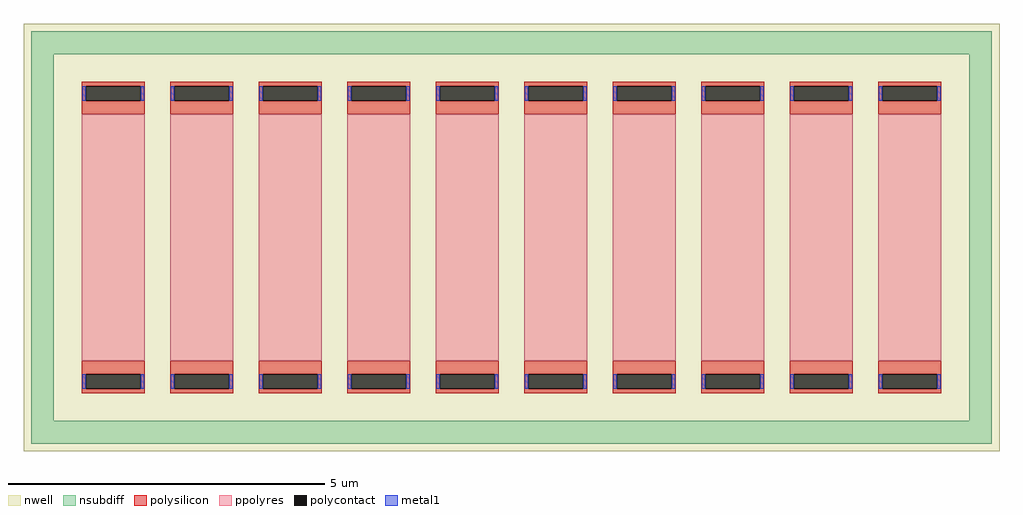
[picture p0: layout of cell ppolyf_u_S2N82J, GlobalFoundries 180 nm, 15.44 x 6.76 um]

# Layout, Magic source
magic
tech gf180mcuC
magscale 1 10
<< nwell >>
rect -1544 -676 1544 676
<< nsubdiff >>
rect -1520 580 1520 652
rect -1520 -580 -1448 580
rect 1448 -580 1520 580
rect -1520 -652 1520 -580
<< polysilicon >>
rect -1360 479 -1160 492
rect -1360 433 -1347 479
rect -1173 433 -1160 479
rect -1360 390 -1160 433
rect -1360 -433 -1160 -390
rect -1360 -479 -1347 -433
rect -1173 -479 -1160 -433
rect -1360 -492 -1160 -479
rect -1080 479 -880 492
rect -1080 433 -1067 479
rect -893 433 -880 479
rect -1080 390 -880 433
rect -1080 -433 -880 -390
rect -1080 -479 -1067 -433
rect -893 -479 -880 -433
rect -1080 -492 -880 -479
rect -800 479 -600 492
rect -800 433 -787 479
rect -613 433 -600 479
rect -800 390 -600 433
rect -800 -433 -600 -390
rect -800 -479 -787 -433
rect -613 -479 -600 -433
rect -800 -492 -600 -479
rect -520 479 -320 492
rect -520 433 -507 479
rect -333 433 -320 479
rect -520 390 -320 433
rect -520 -433 -320 -390
rect -520 -479 -507 -433
rect -333 -479 -320 -433
rect -520 -492 -320 -479
rect -240 479 -40 492
rect -240 433 -227 479
rect -53 433 -40 479
rect -240 390 -40 433
rect -240 -433 -40 -390
rect -240 -479 -227 -433
rect -53 -479 -40 -433
rect -240 -492 -40 -479
rect 40 479 240 492
rect 40 433 53 479
rect 227 433 240 479
rect 40 390 240 433
rect 40 -433 240 -390
rect 40 -479 53 -433
rect 227 -479 240 -433
rect 40 -492 240 -479
rect 320 479 520 492
rect 320 433 333 479
rect 507 433 520 479
rect 320 390 520 433
rect 320 -433 520 -390
rect 320 -479 333 -433
rect 507 -479 520 -433
rect 320 -492 520 -479
rect 600 479 800 492
rect 600 433 613 479
rect 787 433 800 479
rect 600 390 800 433
rect 600 -433 800 -390
rect 600 -479 613 -433
rect 787 -479 800 -433
rect 600 -492 800 -479
rect 880 479 1080 492
rect 880 433 893 479
rect 1067 433 1080 479
rect 880 390 1080 433
rect 880 -433 1080 -390
rect 880 -479 893 -433
rect 1067 -479 1080 -433
rect 880 -492 1080 -479
rect 1160 479 1360 492
rect 1160 433 1173 479
rect 1347 433 1360 479
rect 1160 390 1360 433
rect 1160 -433 1360 -390
rect 1160 -479 1173 -433
rect 1347 -479 1360 -433
rect 1160 -492 1360 -479
<< polycontact >>
rect -1347 433 -1173 479
rect -1347 -479 -1173 -433
rect -1067 433 -893 479
rect -1067 -479 -893 -433
rect -787 433 -613 479
rect -787 -479 -613 -433
rect -507 433 -333 479
rect -507 -479 -333 -433
rect -227 433 -53 479
rect -227 -479 -53 -433
rect 53 433 227 479
rect 53 -479 227 -433
rect 333 433 507 479
rect 333 -479 507 -433
rect 613 433 787 479
rect 613 -479 787 -433
rect 893 433 1067 479
rect 893 -479 1067 -433
rect 1173 433 1347 479
rect 1173 -479 1347 -433
<< ppolyres >>
rect -1360 -390 -1160 390
rect -1080 -390 -880 390
rect -800 -390 -600 390
rect -520 -390 -320 390
rect -240 -390 -40 390
rect 40 -390 240 390
rect 320 -390 520 390
rect 600 -390 800 390
rect 880 -390 1080 390
rect 1160 -390 1360 390
<< metal1 >>
rect -1358 433 -1347 479
rect -1173 433 -1162 479
rect -1078 433 -1067 479
rect -893 433 -882 479
rect -798 433 -787 479
rect -613 433 -602 479
rect -518 433 -507 479
rect -333 433 -322 479
rect -238 433 -227 479
rect -53 433 -42 479
rect 42 433 53 479
rect 227 433 238 479
rect 322 433 333 479
rect 507 433 518 479
rect 602 433 613 479
rect 787 433 798 479
rect 882 433 893 479
rect 1067 433 1078 479
rect 1162 433 1173 479
rect 1347 433 1358 479
rect -1358 -479 -1347 -433
rect -1173 -479 -1162 -433
rect -1078 -479 -1067 -433
rect -893 -479 -882 -433
rect -798 -479 -787 -433
rect -613 -479 -602 -433
rect -518 -479 -507 -433
rect -333 -479 -322 -433
rect -238 -479 -227 -433
rect -53 -479 -42 -433
rect 42 -479 53 -433
rect 227 -479 238 -433
rect 322 -479 333 -433
rect 507 -479 518 -433
rect 602 -479 613 -433
rect 787 -479 798 -433
rect 882 -479 893 -433
rect 1067 -479 1078 -433
rect 1162 -479 1173 -433
rect 1347 -479 1358 -433
<< properties >>
string FIXED_BBOX -1484 -616 1484 616
string gencell ppolyf_u
string library gf180mcu
string parameters w 1.0 l 3.9 m 1 nx 10 wmin 0.80 lmin 1.00 rho 315 val 1.32k dummy 0 dw 0.07 term 0.0 sterm 0.0 caplen 0.4 snake 0 glc 0 grc 0 gtc 0 gbc 0 roverlap 0 endcov 100 full_metal 0
<< end >>
